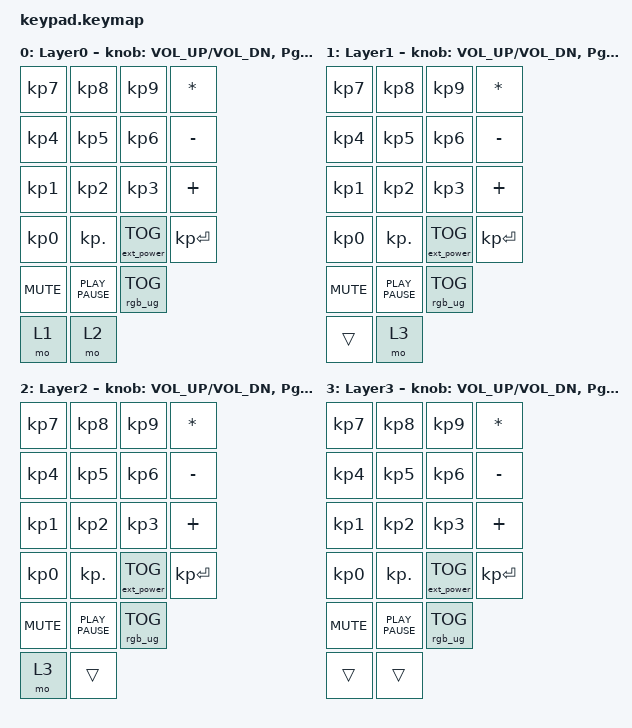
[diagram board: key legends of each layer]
/*
 * Copyright (c) 2021 The ZMK Contributors
 *
 * SPDX-License-Identifier: MIT
 */

#include <behaviors.dtsi>
#include <dt-bindings/zmk/ext_power.h>
#include <dt-bindings/zmk/keys.h>
#include <dt-bindings/zmk/rgb.h>

/ {
    behaviors {
        rgb_encoder: rgb_encoder {
            compatible = "zmk,behavior-sensor-rotate";
            #sensor-binding-cells = <0>;
            bindings = <&rgb_ug RGB_BRI>, <&rgb_ug RGB_BRD>;
        };
    };
    keymap {
        compatible = "zmk,keymap";

        layer_0 {
            bindings = <
&kp KP_NUMBER_7  &kp KP_NUMBER_8   &kp KP_NUMBER_9    &kp STAR      
&kp KP_NUMBER_4  &kp KP_NUMBER_5   &kp KP_NUMBER_6    &kp MINUS     
&kp KP_NUMBER_1  &kp KP_NUMBER_2   &kp KP_NUMBER_3    &kp PLUS
&kp KP_NUMBER_0  &kp KP_DOT       &ext_power EP_TOG  &kp KP_ENTER
&kp C_MUTE       &kp K_PLAY_PAUSE  &rgb_ug RGB_TOG   
&mo 1  &mo 2 
            >;

            label = "Layer0";
            sensor-bindings = <&inc_dec_kp C_VOL_UP C_VOL_DN &inc_dec_kp PG_UP PG_DN &rgb_encoder>;
        };

        layer_1 {
            label = "Layer1";
            bindings = <
&kp KP_NUMBER_7  &kp KP_NUMBER_8   &kp KP_NUMBER_9    &kp STAR      
&kp KP_NUMBER_4  &kp KP_NUMBER_5   &kp KP_NUMBER_6    &kp MINUS    
&kp KP_NUMBER_1  &kp KP_NUMBER_2   &kp KP_NUMBER_3    &kp PLUS
&kp KP_NUMBER_0  &kp KP_DOT        &ext_power EP_TOG  &kp KP_ENTER
&kp C_MUTE       &kp K_PLAY_PAUSE  &rgb_ug RGB_TOG 
&trans   &mo 3
            >;

            sensor-bindings =
                <&inc_dec_kp C_VOL_UP C_VOL_DN>,
                <&inc_dec_kp PG_UP PG_DN>,
                <&rgb_encoder>;
        };

        layer_2 {
            label = "Layer2";
            bindings = <
&kp KP_NUMBER_7  &kp KP_NUMBER_8   &kp KP_NUMBER_9    &kp STAR      
&kp KP_NUMBER_4  &kp KP_NUMBER_5   &kp KP_NUMBER_6    &kp MINUS     
&kp KP_NUMBER_1  &kp KP_NUMBER_2   &kp KP_NUMBER_3    &kp PLUS
&kp KP_NUMBER_0  &kp KP_DOT        &ext_power EP_TOG  &kp KP_ENTER
&kp C_MUTE       &kp K_PLAY_PAUSE  &rgb_ug RGB_TOG 
&mo 3  &trans
            >;

            sensor-bindings =
                <&inc_dec_kp C_VOL_UP C_VOL_DN>,
                <&inc_dec_kp PG_UP PG_DN>,
                <&rgb_encoder>;
        };

        layer_3 {
            label = "Layer3";
            bindings = <
&kp KP_NUMBER_7  &kp KP_NUMBER_8   &kp KP_NUMBER_9    &kp STAR      
&kp KP_NUMBER_4  &kp KP_NUMBER_5   &kp KP_NUMBER_6    &kp MINUS     
&kp KP_NUMBER_1  &kp KP_NUMBER_2   &kp KP_NUMBER_3    &kp PLUS
&kp KP_NUMBER_0  &kp KP_DOT        &ext_power EP_TOG  &kp KP_ENTER
&kp C_MUTE       &kp K_PLAY_PAUSE  &rgb_ug RGB_TOG  
&trans  &trans
            >;

            sensor-bindings =
                <&inc_dec_kp C_VOL_UP C_VOL_DN>,
                <&inc_dec_kp PG_UP PG_DN>,
                <&rgb_encoder>;
        };
    };
};
